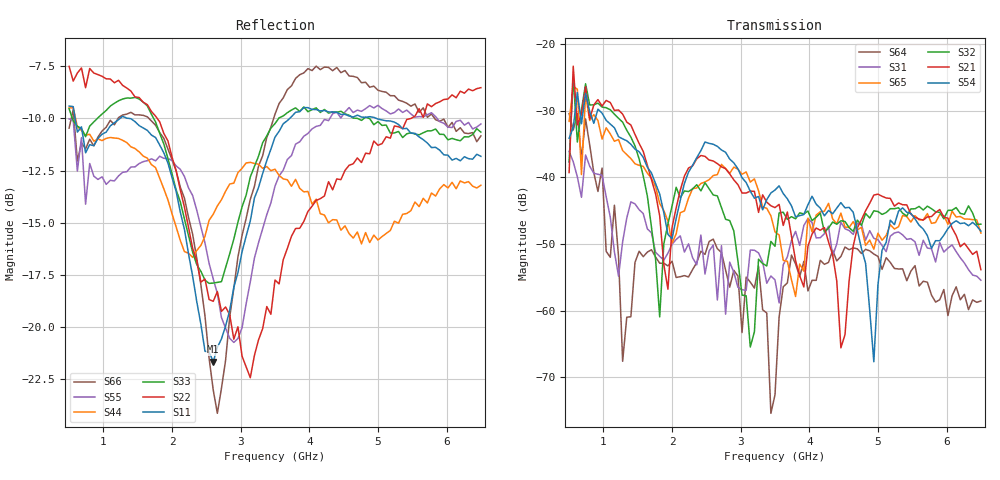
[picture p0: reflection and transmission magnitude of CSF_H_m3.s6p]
!Keysight Technologies,M9804A,MY58100912,A.14.10.03
!Date: Thursday, April 27, 2023 10:28:33
!Correction: S11(C  6-Port  )
!S12(C  6-Port  )
!S13(C  6-Port  )
!S14(C  6-Port  )
!S15(C  6-Port  )
!S16(C  6-Port  )
!S21(C  6-Port  )
!S22(C  6-Port  )
!S23(C  6-Port  )
!S24(C  6-Port  )
!S25(C  6-Port  )
!S26(C  6-Port  )
!S31(C  6-Port  )
!S32(C  6-Port  )
!S33(C  6-Port  )
!S34(C  6-Port  )
!S35(C  6-Port  )
!S36(C  6-Port  )
!S41(C  6-Port  )
!S42(C  6-Port  )
!S43(C  6-Port  )
!S44(C  6-Port  )
!S45(C  6-Port  )
!S46(C  6-Port  )
!S51(C  6-Port  )
!S52(C  6-Port  )
!S53(C  6-Port  )
!S54(C  6-Port  )
!S55(C  6-Port  )
!S56(C  6-Port  )
!S61(C  6-Port  )
!S62(C  6-Port  )
!S63(C  6-Port  )
!S64(C  6-Port  )
!S65(C  6-Port  )
!S66(C  6-Port  )
!S6P File: Measurement: :
# Hz S  RI  R 50
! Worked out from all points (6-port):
!   101 points, 500 MHz to 6.5 GHz, reference 50 ohm
!   strongest paths, dB at 500 MHz, 2 GHz, 3.5 GHz, 5 GHz, 6.5 GHz:
!     S54: -34.1, -49.2, -41.9, -56.1, -48.1
!     S21: -39.3, -47.5, -44.5, -42.5, -53.9
!     S32: -37.7, -44.3, -50.3, -45.1, -47.0
!     S65: -31.6, -49.9, -48.2, -48.4, -48.4
!     S31: -36.1, -50.0, -55.4, -49.4, -55.4
!     S64: -30.4, -52.6, -72.7, -51.9, -58.5
!   lowest |S11| = -21.7 dB at 2.6 GHz (marker M1), VSWR 1.18, Z = 42.6 + j2.01 ohm
!   |S11| at or under -10 dB: 587.9 MHz to 1.242 GHz (654.4 MHz wide, 71.5 % of centre); 1.374 GHz to 3.714 GHz (2.339 GHz wide, 92 % of centre); 4.979 GHz to end of sweep
